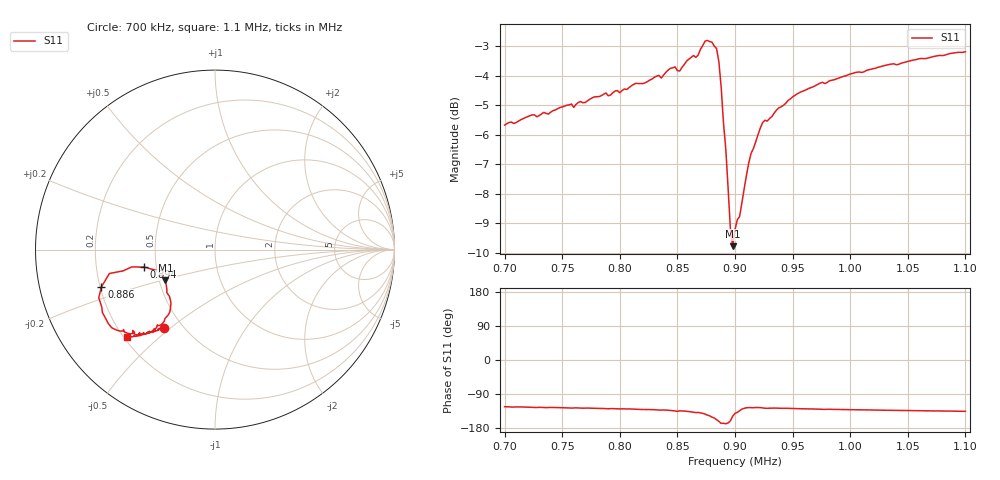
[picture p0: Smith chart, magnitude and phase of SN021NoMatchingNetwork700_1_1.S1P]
!Agilent Technologies,E5071C,MY46100265,A.07.02
!Date: Mon Jan 27 12:30:51 2020
!Data & Calibration Information:
!Freq	S11:SOLT1(OFF)
# Hz S dB R 50
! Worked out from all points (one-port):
!   201 points, 700 kHz to 1.1 MHz, reference 50 ohm
!   lowest |S11| = -9.8 dB at 898 kHz (marker M1), VSWR 1.96, Z = 27 - j10.3 ohm
!   |S11| at or under -10 dB: nowhere
!   S11 on the Smith chart (normalised r, x): 700 kHz: 0.40, -0.47; 886 kHz: 0.21, -0.15; 894 kHz: 0.43, -0.10; 1.1 MHz: 0.21, -0.40
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700000  -5.68 -123.3
750000  -5.06 -125.9
800000  -4.58 -129.1
842000  -3.81 -132.5
850000  -3.83 -135.5
852000  -3.85 -134.2
858000  -3.51 -135.3
866000  -3.38 -138.9
868000  -3.31 -138.4
874000  -2.84 -142.8
882000  -3.01 -153.0
884000  -3.09 -157.5
886000  -3.54 -161.9
888000  -4.39 -167.3
890000  -5.60 -167.0
892000  -6.49 -168.2
894000  -7.80 -166.2
896000  -9.18 -160.6
898000  -9.77 -148.4
900000  -9.21 -140.8
904000  -8.77 -134.0
910000  -7.36 -125.9
920000  -6.00 -125.4
926000  -5.51 -127.2
950000  -4.72 -127.9
1000000  -3.95 -131.1
1050000  -3.52 -133.3
1100000  -3.19 -135.3
